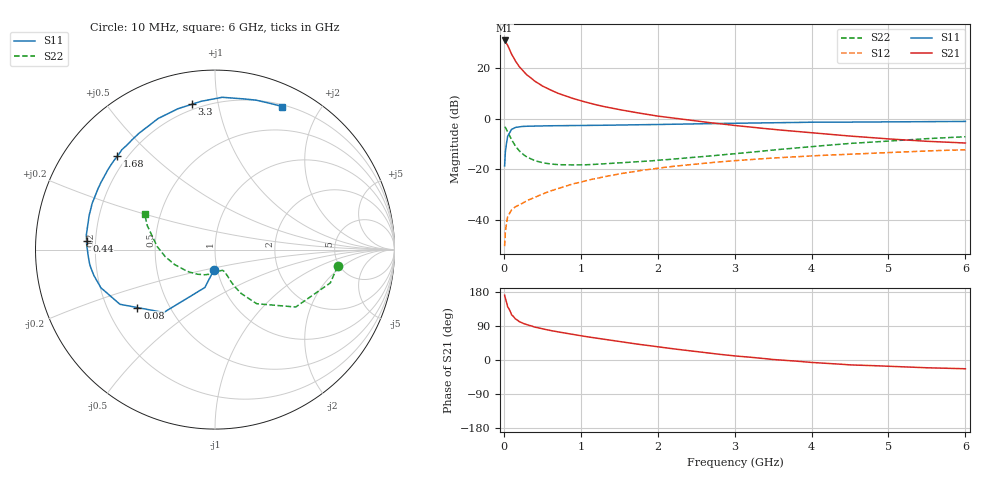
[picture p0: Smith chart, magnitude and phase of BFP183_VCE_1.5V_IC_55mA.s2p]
! Infineon Technologies  Discrete & RF Semiconductors
! BFP183
! VCE = 1.5 V,  IC =  55 mA
! Common Emitter S-Parameters:  Jan 2016
# GHz  S  MA  R  50
!  f  S11  S21  S12  S22
! GHz  MAG  ANG  MAG  ANG  MAG  ANG  MAG  ANG
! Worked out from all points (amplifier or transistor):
!   210 points, 10 MHz to 6 GHz, reference 50 ohm
!   highest |S21| = 30.9 dB at 10 MHz (marker M1)
!   |S21| within 3 dB of that: start of sweep to 66.01 MHz
!   unconditionally stable (mu >= 1): start of sweep to 35.76 MHz; 163.4 MHz to end of sweep
!   at 185 MHz: K = 1.08, MAG = 26.1 dB, |S12| = -34.4 dB
!   at 1.52 GHz: K = 1.79, MAG = 7.5 dB, |S12| = -21.8 dB
!   at 6 GHz: K = 1.43, MAG = -2.6 dB, |S12| = -12.3 dB
!   S11 on the Smith chart (normalised r, x): 10 MHz: 0.96, -0.22; 80 MHz: 0.33, -0.30; 440 MHz: 0.16, +0.03; 1.68 GHz: 0.16, +0.39; 3.3 GHz: 0.17, +0.84; 6 GHz: 0.22, +1.55
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0.01  0.1157 -93.5  35.17 171.0  0.003 61.9  0.6893 -7.8
0.02  0.2188 -105.0  34.2 162.2  0.0058 64.9  0.6689 -16.1
0.05  0.4521 -129.2  28.14 140.2  0.0115 58.9  0.552 -35.4
0.08  0.5395 -143.2  22.26 129.7  0.0139 49.4  0.4448 -44.0
0.1  0.6111 -150.1  18.96 119.4  0.0156 44.7  0.3815 -52.3
0.15  0.6702 -161.5  13.79 108.4  0.018 44.6  0.2859 -59.1
0.2  0.6902 -168.0  10.7 101.5  0.0196 46.0  0.2306 -62.2
0.24  0.6997 -171.9  9.092 97.8  0.0211 47.3  0.2035 -63.3
0.3  0.7065 -176.5  7.315 93.0  0.0238 49.9  0.1739 -64.2
0.4  0.7156 177.8  5.535 86.9  0.0275 53.3  0.1476 -65.4
0.44  0.7175 176.0  5.088 85.3  0.0293 54.3  0.1422 -65.9
0.5  0.7215 173.4  4.428 82.3  0.0321 55.5  0.1341 -66.7
0.7  0.7265 165.3  3.187 74.3  0.041 60.0  0.123 -70.0
1.02  0.7326 154.8  2.208 63.5  0.0566 60.5  0.1217 -78.9
1.3  0.7389 147.0  1.733 54.7  0.0706 59.5  0.1276 -87.4
1.68  0.753 136.2  1.349 43.5  0.0892 56.8  0.1388 -99.9
2.02  0.7662 127.3  1.113 34.4  0.1053 53.4  0.151 -111.7
3.1  0.8134 102.8  0.708 9.2  0.1509 41.5  0.2085 -148.7
3.3  0.8198 99.1  0.659 5.5  0.1585 39.3  0.2232 -154.6
4.1  0.8493 85.9  0.509 -7.6  0.1864 30.6  0.2884 -174.6
5.1  0.8645 73.6  0.389 -17.2  0.216 21.1  0.3676 165.9
6  0.8807 64.8  0.329 -23.1  0.2422 11.4  0.4385 153.2
